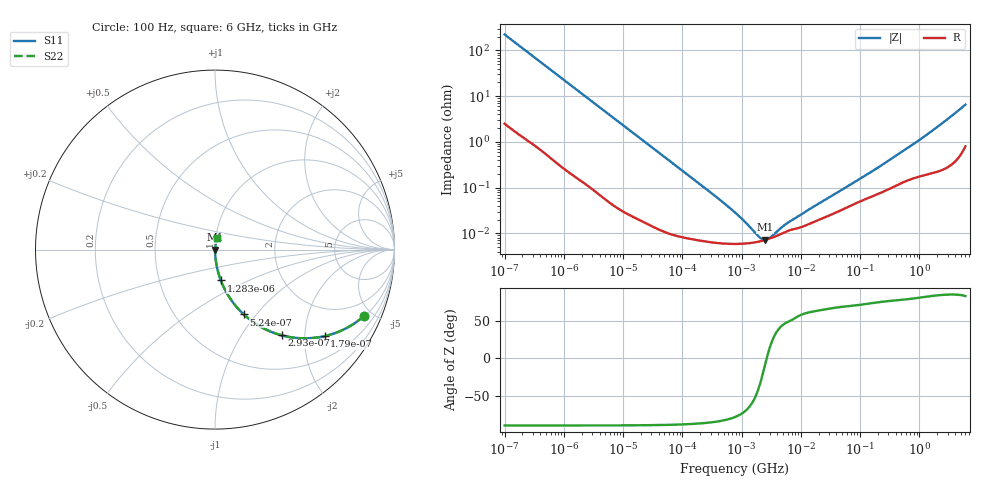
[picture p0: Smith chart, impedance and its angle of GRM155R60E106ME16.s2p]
!Murata Part Number: GRM155R60E106ME16
!These Parameters are Measured in Series Mode Connection
!Data Generated on Mar 30, 2021
!  o--ll--o
!Port1  Port2
!  o------o
!Operation Temp=25[degC], DC Bias Voltage=0[V]
!Freq. Start=100[Hz] Stop=6[GHz] 401[Steps]
# Hz S RI R 50
!Freq.(Hz) S11(Real) S11(Imag) S21(Real) S21(Imag) S12(Real) S12(Imag) S22(Real) S22(Imag)
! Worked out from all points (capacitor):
!   401 points, 100 Hz to 6 GHz, reference 50 ohm
!   read as one part in series: C = 7.09 uF near 109 Hz
!   lowest |Z| = 7.21 mohm at 2.481 MHz (marker M1)
!   series resonance near 2.655 MHz, so ESL is about 510 pH
!   S11 on the Smith chart (normalised r, x): 100 Hz: 1.05, -4.48; 179 Hz: 1.03, -2.51; 293 Hz: 1.02, -1.54; 524 Hz: 1.01, -0.86; 1.283 kHz: 1.00, -0.36; 6 GHz: 1.02, +0.13
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100  0.8309 -0.3693  0.1691 0.3693  0.1691 0.3693  0.8309 -0.3693
131  0.7438 -0.431  0.2562 0.431  0.2562 0.431  0.7438 -0.431
179  0.6108 -0.482  0.3892 0.482  0.3892 0.482  0.6108 -0.482
293  0.3738 -0.478  0.6262 0.478  0.6262 0.478  0.3738 -0.478
524  0.1605 -0.3612  0.8395 0.3612  0.8395 0.3612  0.1605 -0.3612
784  0.0801 -0.2658  0.9199 0.2658  0.9199 0.2658  0.0801 -0.2658
1283  0.0325 -0.1716  0.9675 0.1716  0.9675 0.1716  0.0325 -0.1716
2008  0.0141 -0.1122  0.9859 0.1122  0.9859 0.1122  0.0141 -0.1122
6433  0.00171 -0.0358  0.9983 0.0358  0.9983 0.0358  0.00171 -0.0358
40335  0.000154 -0.00579  0.9998 0.00579  0.9998 0.00579  0.000154 -0.00579
330837  6.32e-05 -0.000706  0.9999 0.000706  0.9999 0.000706  6.32e-05 -0.000706
774597  5.87e-05 -0.00028  0.9999 0.00028  0.9999 0.00028  5.87e-05 -0.00028
1658239  6.32e-05 -8.52e-05  0.9999 8.52e-05  0.9999 8.52e-05  6.32e-05 -8.52e-05
1896632  6.52e-05 -5.92e-05  0.9999 5.92e-05  0.9999 5.92e-05  6.52e-05 -5.92e-05
2481164  7.12e-05 -1.13e-05  0.9999 1.13e-05  0.9999 1.13e-05  7.12e-05 -1.13e-05
3712478  8.57e-05 5.42e-05  0.9999 -5.42e-05  0.9999 -5.42e-05  8.57e-05 5.42e-05
5809218  0.000111 0.000122  0.9999 -0.000122  0.9999 -0.000122  0.000111 0.000122
1.555665e7  0.000171 0.000325  0.9998 -0.000325  0.9998 -0.000325  0.000171 0.000325
1.166697e8  0.000544 0.00167  0.9995 -0.00167  0.9995 -0.00167  0.000544 0.00167
3.124326e8  0.000952 0.00389  0.999 -0.00389  0.999 -0.00389  0.000952 0.00389
1.309207e9  0.0021 0.0139  0.9979 -0.0139  0.9979 -0.0139  0.0021 0.0139
6e9  0.012 0.0636  0.988 -0.0636  0.988 -0.0636  0.012 0.0636
